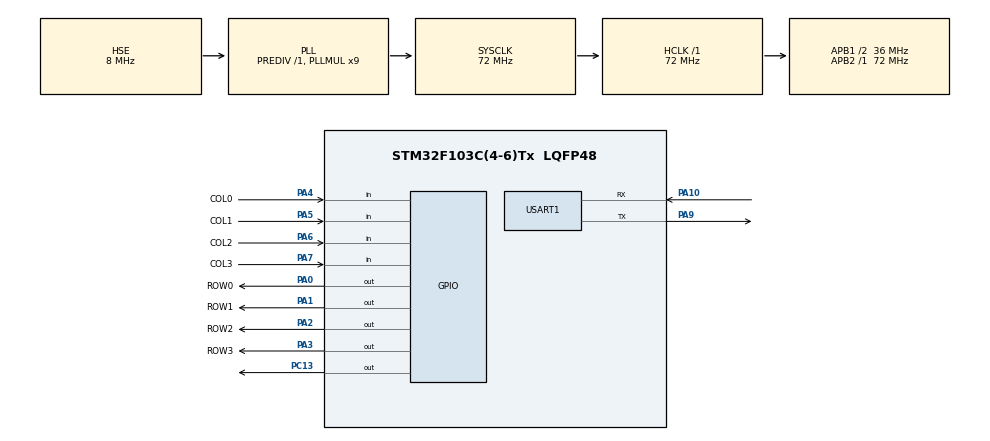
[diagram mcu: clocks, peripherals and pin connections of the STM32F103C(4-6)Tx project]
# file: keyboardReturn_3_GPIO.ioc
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Mcu.Family=STM32F1
Mcu.Name=STM32F103C(4-6)Tx
Mcu.Package=LQFP48
NVIC.PriorityGroup=NVIC_PRIORITYGROUP_4
NVIC.USART1_IRQn=true\:0\:0\:false\:false\:true\:true\:true\:true
PA0-WKUP.GPIO_Label=ROW0
PA0-WKUP.PinState=GPIO_PIN_SET
PA0-WKUP.Signal=GPIO_Output
PA1.GPIO_Label=ROW1
PA1.PinState=GPIO_PIN_SET
PA1.Signal=GPIO_Output
PA10.Mode=Asynchronous
PA10.Signal=USART1_RX
PA13.Mode=Serial_Wire
PA13.Signal=SYS_JTMS-SWDIO
PA14.Mode=Serial_Wire
PA14.Signal=SYS_JTCK-SWCLK
PA2.GPIO_Label=ROW2
PA2.PinState=GPIO_PIN_SET
PA2.Signal=GPIO_Output
PA3.GPIO_Label=ROW3
PA3.PinState=GPIO_PIN_SET
PA3.Signal=GPIO_Output
PA4.GPIO_Label=COL0
PA4.GPIO_PuPd=GPIO_PULLUP
PA4.Signal=GPIO_Input
PA5.GPIO_Label=COL1
PA5.GPIO_PuPd=GPIO_PULLUP
PA5.Signal=GPIO_Input
PA6.GPIO_Label=COL2
PA6.GPIO_PuPd=GPIO_PULLUP
PA6.Signal=GPIO_Input
PA7.GPIO_Label=COL3
PA7.GPIO_PuPd=GPIO_PULLUP
PA7.Signal=GPIO_Input
PA9.Mode=Asynchronous
PA9.Signal=USART1_TX
PC13-TAMPER-RTC.Signal=GPIO_Output
PD0-OSC_IN.Mode=HSE-External-Oscillator
PD0-OSC_IN.Signal=RCC_OSC_IN
PD1-OSC_OUT.Mode=HSE-External-Oscillator
PD1-OSC_OUT.Signal=RCC_OSC_OUT
ProjectManager.HeapSize=0x200
ProjectManager.StackSize=0x400
ProjectManager.TargetToolchain=EWARM V8.32
RCC.AHBFreq_Value=72000000
RCC.APB1CLKDivider=RCC_HCLK_DIV2
RCC.APB1Freq_Value=36000000
RCC.APB1TimFreq_Value=72000000
RCC.APB2Freq_Value=72000000
RCC.APB2TimFreq_Value=72000000
RCC.HCLKFreq_Value=72000000
RCC.PLLMUL=RCC_PLL_MUL9
RCC.PLLSourceVirtual=RCC_PLLSOURCE_HSE
RCC.SYSCLKFreq_VALUE=72000000
RCC.SYSCLKSource=RCC_SYSCLKSOURCE_PLLCLK
RCC.USBFreq_Value=72000000
USART1.VirtualMode=VM_ASYNC
board=custom

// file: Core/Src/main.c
/* USER CODE BEGIN Header */
/**
******************************************************************************
* @file           : main.c
* @brief          : Main program body
******************************************************************************
* @attention
*
* Copyright (c) 2025 STMicroelectronics.
* All rights reserved.
*
* This software is licensed under terms that can be found in the LICENSE file
* in the root directory of this software component.
* If no LICENSE file comes with this software, it is provided AS-IS.
*
******************************************************************************
*/
/* USER CODE END Header */
#include "main.h"
#include "usart.h"
#include "gpio.h"

/* USER CODE BEGIN Includes */

#include <stdio.h>
#include <string.h>

/* USER CODE END Includes */

/* USER CODE BEGIN PTD */

typedef enum {

    KEY_IDLE,
    KEY_PUSH,
    KEY_HOLD,
    KEY_FINISH

} KeyState_t;

typedef struct {

    char key_char; // 키 값
    KeyState_t state; // 현재 상태 (PUSH, HOLD)
    uint32_t tick; // 누르기 시작한 시간
    uint8_t active; // 현재 눌려있는지 여부

} KeyInfo_t;

#define MAX_KEYS 16
#define DEBOUNCE_TIME 40
#define HOLD_TIME 500
#define KEY_QUEUE_SIZE 32
#define MAX_MSG_LEN 32

typedef struct {

    char buffer[KEY_QUEUE_SIZE][MAX_MSG_LEN];
    uint8_t fidx;
    uint8_t ridx;
    uint8_t count;

} KeyQueue_t;

KeyQueue_t tx_queue = {0};
// KeyInfo_t 구조체 16개 공간을 만듬
KeyInfo_t keys[MAX_KEYS] = {0}; // 전체 키 상태 저장

const char keymap[4][4] = {

    {'1', '2', '3', 'A'},
    {'4', '5', '6', 'B'},
    {'7', '8', '9', 'C'},
    {'*', '0', '#', 'D'}

};

// GPIO_PIN_0은 HAL 라이브러리에 이미 정의 되있음
// #define GPIO_PIN_0    ((uint16_t)0x0001)  // 0번 핀
// GPIO는 16개씩 핀을 가지고 있음 그래서 uint16_t으로 사용함
// GPIO 제어는 보통 하나의 레지스터로 여러 핀을 동시에 제어함
// 그래서 각 핀을 비트 단위로 표현해서 제어함
uint16_t row_pins[4] = {GPIO_PIN_0, GPIO_PIN_1, GPIO_PIN_2, GPIO_PIN_3};
uint16_t col_pins[4] = {GPIO_PIN_4, GPIO_PIN_5, GPIO_PIN_6, GPIO_PIN_7};

uint8_t uart_tx_ready = 1;

/* USER CODE END PTD */

void SystemClock_Config(void);
/* USER CODE BEGIN PFP */

/*
// 16키패드 모듈 테스트
char ScanKeypad(void) {
    for (int row = 0; row < 4; row++) {

        // 모든 행 HIGH, 현재 행만 LOW
        for (int r = 0; r < 4; r++) {
            // GPIO 핀은 16비트 정수의 한 비트에 대응됨
            // 핀 0은 0000 0000 0000 0001
            HAL_GPIO_WritePin(GPIOA, (1 << r), GPIO_PIN_SET);
        }
        HAL_GPIO_WritePin(GPIOA, (1 << row), GPIO_PIN_RESET); // 현재 행만 LOW

        // 열 스캔
        for (int col = 0; col < 4; col++) {
            if (HAL_GPIO_ReadPin(GPIOA, (1 << (col + 4))) == GPIO_PIN_RESET) {
                HAL_Delay(40); // 디바운싱
                if (HAL_GPIO_ReadPin(GPIOA, (1 << (col + 4))) == GPIO_PIN_RESET) {
                    return keymap[row][col];
                }
            }
        }
    }
    return 0;
}
*/

/*
// 큐에 키 값 추가
void EnqueueKey(KeyQueue_t *q, char key) {

    if (q->count < KEY_QUEUE_SIZE) {

        q->buffer[q->ridx++] = key;
        q->ridx %= KEY_QUEUE_SIZE;  // 오버플로우 방지
        q->count++;

    }

}

// 큐에서 값 꺼냄
char DequeueKey(KeyQueue_t *q) {

    if (q->count == 0) return 0;
    char key = q->buffer[q->fidx++];
    q->fidx %= KEY_QUEUE_SIZE;
    q->count--;
    return key;

}
*/

// 메시지를 큐에 넣는 함수
void EnqueueMessage(const char *msg) {
    if (tx_queue.count < KEY_QUEUE_SIZE) {
        strncpy(tx_queue.buffer[tx_queue.ridx], msg, MAX_MSG_LEN - 1);
        tx_queue.buffer[tx_queue.ridx][MAX_MSG_LEN - 1] = '\0'; // NULL 종료 보장
        tx_queue.ridx = (tx_queue.ridx + 1) % KEY_QUEUE_SIZE;
        tx_queue.count++;
    }
}

// 큐에서 메시지를 꺼내는 함수
char* DequeueMessage(void) {
    if (tx_queue.count == 0) return NULL;
    char* msg = tx_queue.buffer[tx_queue.fidx];
    tx_queue.fidx = (tx_queue.fidx + 1) % KEY_QUEUE_SIZE;
    tx_queue.count--;
    return msg;
}

// 메시지 생성 함수
void SendKeyStateMessage(char key_char, KeyState_t state) {

    char msg[MAX_MSG_LEN];

    // 문자열은 char*, const char* 으로 사용, 문자열이 배열이고 첫주소를 전달하기 때문
    // 문자열은 읽기 전용 메모리에 저장 되기 때문에 직접 state_str[0] = "p"; 이런식으로 수정하면 안 됨.
    // 그래서 런타임 전에 컴파일 에러를 발생해서 실수하지 않기 위해 const char* 사용
    // state_str = "PPP"; 이런 식으로는 가능이라기 보단 새로운 메모리에 새 문자열을 넣는 거임
    // 직접 수정하고 싶으면 버퍼를 사용해서 문자열을 복사한 후 수정해야함

    // 예시)
    // 수정 가능한 버퍼 생성
    // char buffer[100];
    // strcpy(buffer, "Hello");  // 이제 buffer는 수정 가능
    // buffer[0] = 'h';  // 허용됨

    // 문자열을 리턴하는 함수를 사용하고 싶을 경우도 버퍼를 사용

    // 예시)
    /*
    char* CreateKeyStateMessage(char key_char, KeyState_t key_state, char* buffer, size_t buffer_size) {
    const char* state_str;

    switch (key_state) {
    // 상태별 문자열 설정 (앞의 코드와 동일)
}

    snprintf(buffer, buffer_size, "KEY: %c, STATE: %s\r\n", key_char, state_str);
    return buffer; // 편의를 위해 같은 버퍼 포인터 반환
}

    // 사용 예:
    char buffer[32];
    char* message = CreateKeyStateMessage('A', KEY_PUSH, buffer, sizeof(buffer));
    EnqueueMessage(message); // buffer와 message는 동일한 포인터

    */

    const char* state_str;

    switch (state) {

    case KEY_IDLE:

        state_str = "IDEL";

        break;

    case KEY_PUSH:

        state_str = "PUSH";

        break;

    case KEY_HOLD:

        state_str = "HOLD";

        break;

    case KEY_FINISH:

        state_str = "FINISH";

        break;

    default:

        state_str = "IDEL";

        break;

    }

    snprintf(msg, sizeof(msg), "KEY: %c, STATE: %s\r\n", key_char, state_str);
    EnqueueMessage(msg);

}

// 키 상태 업데이트
void UpdateKeyState(uint8_t key_index, uint8_t pressed, uint32_t current_tick) {

    KeyInfo_t *k = &keys[key_index];  // 해당 키에 대한  포인터

    if (current_tick - k->tick < DEBOUNCE_TIME) {

        return;

    }

    switch (k->state) {

    case KEY_IDLE:

        if (pressed && !k->active) {

            k->active = 1;
            k->tick = current_tick;
            k->state = KEY_PUSH;

            SendKeyStateMessage(k->key_char, KEY_PUSH);
        }

        break;

    case KEY_PUSH:

        if (pressed && k->active) {

            // *기존 current_tick은 폴링 방식으로 계속 초기화 되기 때문에
            // hold 체크할 tick을 따로 생성
            uint32_t hold_current_tick = HAL_GetTick();

            if (hold_current_tick - k->tick >= HOLD_TIME) {

                k->state = KEY_HOLD;

                SendKeyStateMessage(k->key_char, KEY_HOLD);

            }

        } else {

            k->active = 0;
            k->tick = current_tick;
            k->state = KEY_FINISH;

            SendKeyStateMessage(k->key_char, KEY_FINISH);

        }

        break;

    case KEY_HOLD:

        if (!pressed && k->active) {

            k->active = 0;
            k->tick = current_tick;
            k->state = KEY_FINISH;

            SendKeyStateMessage(k->key_char, KEY_FINISH);

        }

        break;

    case KEY_FINISH:

        k->state = KEY_IDLE;

        break;

    default:

        k->state = KEY_IDLE;
        k->active = 0;

        break;

    }

}

// 키패드 스캔 함수
void ScanKeypad() {

    uint32_t current_tick = HAL_GetTick();

    for (int row = 0; row < 4; row++) {

        for (int r = 0; r < 4; r++) {

            // 모든 행을 일단 HIGH로 설정
            HAL_GPIO_WritePin(GPIOA, row_pins[r], GPIO_PIN_SET);

        }

        // 한 행씩 LOW로 설정 / COL에서 LOW값을 받아서  행열 모두 LOW인 값 찾기 위해
        HAL_GPIO_WritePin(GPIOA, row_pins[row], GPIO_PIN_RESET);

        for (int col = 0; col < 4; col++) {

            // 키가 눌렸을 경우 key_down에 1 대입
            uint8_t pressed = (HAL_GPIO_ReadPin(GPIOA, col_pins[col]) == GPIO_PIN_RESET);

            /*
                        Col0  Col1  Col2  Col3
                       +-----+-----+-----+-----+
                Row0   |  0  |  1  |  2  |  3  |
                Row1   |  4  |  5  |  6  |  7  |
                Row2   |  8  |  9  | 10  | 11  |
                Row3   | 12  | 13  | 14  | 15  |
            */
            // 2차원 배열이지만 인덱스 부여 가능
            // 아래 공식으로 인덱스 계산 가능
            // RTOS에서도 테이블 기반 스케줄링, 이벤트 맵 등을 이런 식으로 계산
            // 하드웨어 제어에서도 레지스터 배열 접근 시 row-major(행 기준 순서) 접근 방식이 매우 유용
            uint8_t key_index = row * 4 + col;  // 키 인덱스 계산

            keys[key_index].key_char = keymap[row][col];  // 문자 매핑
            UpdateKeyState(key_index, pressed, current_tick);  // 상태 업데이트

        }

    }

}

// 키 값 UART 전송
void SendNextMessage(void) {

    if (tx_queue.count > 0 && uart_tx_ready) {
        //char key = DequeueKey(&tx_queue);
        //char msg[32];
        char *msg = DequeueMessage();
        uart_tx_ready = 0;
        //snprintf(msg, sizeof(msg), "KEY: %c\r\n", key);
        HAL_UART_Transmit_IT(&huart1, (uint8_t*)msg, strlen(msg));
    }

}

/*
void HAL_GPIO_EXTI_Callback(uint16_t GPIO_Pin) {

    for (int col = 0; col < 4; col++) {
        if (GPIO_Pin == col_pins[col]) {   // 어떤 Col 핀에서 인터럽트 발생했는지 확인
            ScanKeypad();                  // 키패드 스캔 수행
            //break;
        }
    }

}
*/

void HAL_UART_TxCpltCallback(UART_HandleTypeDef *huart) {
    if (huart->Instance == USART1) {
        uart_tx_ready = 1;   // 다음 전송 가능 상태로 설정

    }
}

/* USER CODE END PFP */

int main(void)
{

  /* MCU Configuration--------------------------------------------------------*/

  /* Reset of all peripherals, Initializes the Flash interface and the Systick. */
  HAL_Init();

  /* Configure the system clock */
  SystemClock_Config();

  /* Initialize all configured peripherals */
  MX_GPIO_Init();
  MX_USART1_UART_Init();
  /* USER CODE BEGIN 2 */

  for (int i = 0; i < 4; i++) {
    HAL_GPIO_WritePin(GPIOA, row_pins[i], GPIO_PIN_SET);  // 시작 시 모든 Row를 HIGH로 설정
}

uint32_t last_scan_time = 0;

  /* USER CODE END 2 */

  /* Infinite loop */
    while (1)
    {

    /* USER CODE BEGIN 3 */

        /*
        // 16키패드 모듈 테스트
        char key = ScanKeypad();
        if (key) {
            char msg[20];
            snprintf(msg, sizeof(msg), "Pressed: %c\r\n", key);
            HAL_UART_Transmit(&huart1, (uint8_t*)msg, strlen(msg), 100);
            HAL_Delay(200); // 반복 방지
        }
        */

        // 50ms마다 체크
        uint32_t current_scan_time = HAL_GetTick();
        if (current_scan_time - last_scan_time >= 50) {
            ScanKeypad();
            last_scan_time = current_scan_time;
        }

        SendNextMessage();
    }
  /* USER CODE END 3 */
}

void SystemClock_Config(void)
{
  RCC_OscInitTypeDef RCC_OscInitStruct = {0};
  RCC_ClkInitTypeDef RCC_ClkInitStruct = {0};

  /** Initializes the RCC Oscillators according to the specified parameters
  * in the RCC_OscInitTypeDef structure.
  */
  RCC_OscInitStruct.OscillatorType = RCC_OSCILLATORTYPE_HSE;
  RCC_OscInitStruct.HSEState = RCC_HSE_ON;
  RCC_OscInitStruct.HSEPredivValue = RCC_HSE_PREDIV_DIV1;
  RCC_OscInitStruct.HSIState = RCC_HSI_ON;
  RCC_OscInitStruct.PLL.PLLState = RCC_PLL_ON;
  RCC_OscInitStruct.PLL.PLLSource = RCC_PLLSOURCE_HSE;
  RCC_OscInitStruct.PLL.PLLMUL = RCC_PLL_MUL9;
  if (HAL_RCC_OscConfig(&RCC_OscInitStruct) != HAL_OK)
  {
    Error_Handler();
  }

  /** Initializes the CPU, AHB and APB buses clocks
  */
  RCC_ClkInitStruct.ClockType = RCC_CLOCKTYPE_HCLK|RCC_CLOCKTYPE_SYSCLK
                              |RCC_CLOCKTYPE_PCLK1|RCC_CLOCKTYPE_PCLK2;
  RCC_ClkInitStruct.SYSCLKSource = RCC_SYSCLKSOURCE_PLLCLK;
  RCC_ClkInitStruct.AHBCLKDivider = RCC_SYSCLK_DIV1;
  RCC_ClkInitStruct.APB1CLKDivider = RCC_HCLK_DIV2;
  RCC_ClkInitStruct.APB2CLKDivider = RCC_HCLK_DIV1;

  if (HAL_RCC_ClockConfig(&RCC_ClkInitStruct, FLASH_LATENCY_2) != HAL_OK)
  {
    Error_Handler();
  }
}

void Error_Handler(void)
{
    __disable_irq();
    while (1)
    {
    }
}
